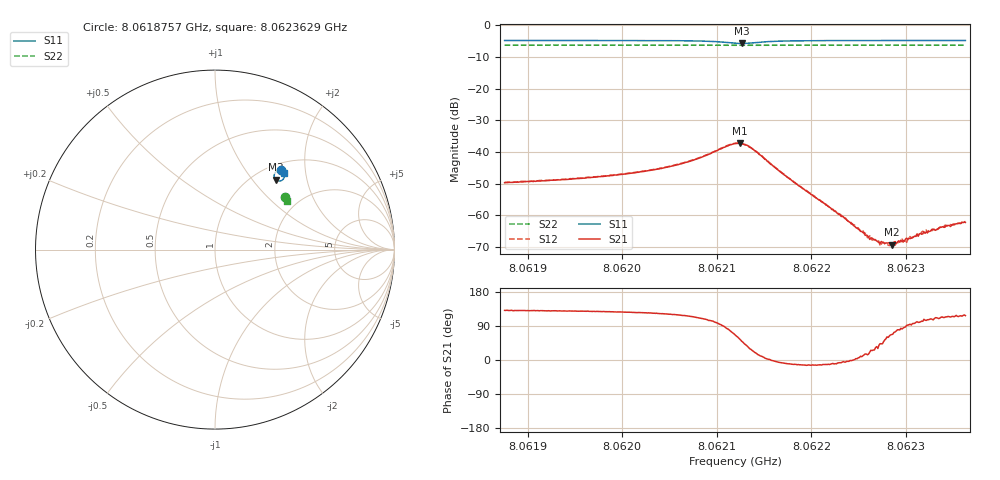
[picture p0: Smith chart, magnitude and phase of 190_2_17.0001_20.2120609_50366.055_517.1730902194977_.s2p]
#  HZ  S  RI  R  50.00
! Rohde & Schwarz Vector Network Analyzer
! Rohde-Schwarz,ZNB20-2Port,1311601062101988,3.16
! Created: UTC 3/20/2024, 11:00:37 PM
! freq[Hz]  re:S11  im:S11  re:S21  im:S21  re:S12  im:S12  re:S22  im:S22
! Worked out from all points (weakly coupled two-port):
!   401 points, 8.0618757 GHz to 8.0623629 GHz, reference 50 ohm
!   highest |S21| = -37.24 dB at 8.0621242 GHz (marker M1); lowest = -69.3 dB at 8.062285 GHz (marker M2)
!   lowest |S11| = -5.8 dB at 8.0621266 GHz (marker M3), VSWR 3.13, Z = 62.3 + j66 ohm
!   |S11| at or under -10 dB: nowhere
!   |S22| runs from -6.3 to -6.3 dB; largest |S21 - S12| = 0.0011
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8.06187566e9  0.3682 0.4425  -0.00214 0.00247  -0.00201 0.00261  0.3872 0.2944
8.06195728e9  0.3747 0.4366  -0.00241 0.00298  -0.00226 0.00314  0.3899 0.2902
8.06199626e9  0.3781 0.4328  -0.00263 0.00351  -0.00243 0.0037  0.3913 0.2883
8.06203889e9  0.3827 0.4264  -0.00291 0.00456  -0.00266 0.00476  0.3927 0.286
8.06207422e9  0.3864 0.4151  -0.00303 0.00669  -0.00265 0.00698  0.3938 0.2838
8.06211929e9  0.3547 0.382  0.0054 0.0124  0.00623 0.0122  0.3933 0.2808
8.06212416e9  0.3433 0.3856  0.00781 0.0113  0.00845 0.0107  0.3932 0.281
8.0621266e9  0.3383 0.3893  0.00881 0.0102  0.00956 0.00972  0.3929 0.2811
8.06213878e9  0.3294 0.4152  0.0101 0.00426  0.0104 0.00364  0.3934 0.2816
8.06217411e9  0.3555 0.4393  0.00398 -0.00067  0.00396 -0.000934  0.396 0.2807
8.06220091e9  0.3659 0.4386  0.00204 -0.000474  0.00203 -0.00061  0.3973 0.2794
8.06223501e9  0.3732 0.4359  0.0009 -8.9e-05  0.000895 -0.000127  0.3986 0.2775
8.06225938e9  0.3766 0.434  0.000464 0.000113  0.000431 0.000104  0.3995 0.2763
8.06227156e9  0.3781 0.4333  0.000287 0.000236  0.000326 0.00021  0.4 0.2756
8.06228252e9  0.3792 0.4324  0.000165 0.00033  0.000161 0.00029  0.4002 0.2752
8.06228496e9  0.3795 0.4323  0.000133 0.000315  0.000204 0.000323  0.4003 0.2749
8.06228861e9  0.3798 0.432  0.000105 0.000369  0.0001 0.000322  0.4004 0.2747
8.06229714e9  0.3807 0.4314  3.95e-05 0.000399  8.42e-05 0.000366  0.4009 0.2745
8.06229958e9  0.381 0.4312  2.02e-05 0.00042  2.49e-05 0.000403  0.401 0.2743
8.06231907e9  0.3827 0.43  -0.000163 0.000521  -0.000102 0.00053  0.4015 0.2733
8.06233734e9  0.3842 0.4289  -0.000254 0.000594  -0.000208 0.000627  0.4021 0.2723
8.06236292e9  0.3862 0.4272  -0.000351 0.000687  -0.000339 0.000726  0.4029 0.271
